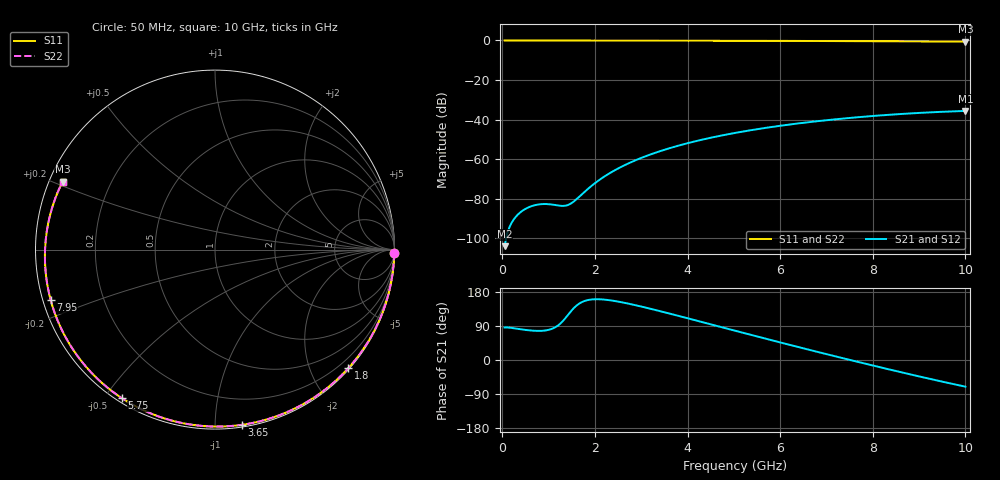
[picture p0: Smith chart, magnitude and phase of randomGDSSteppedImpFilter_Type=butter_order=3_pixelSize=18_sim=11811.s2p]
! freq	dB(S11)	phase(S11)	dB(S12)	phase(S12)
!  dB(S21)	phase(S21)	dB(S22)	phase(S22)
!S-par simulation data
#  GHz  S  DB  R 50
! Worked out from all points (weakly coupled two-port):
!   200 points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, 50 MHz to 10 GHz, reference 50 ohm
!   highest |S21| = -35.59 dB at 10 GHz (marker M1); lowest = -103.9 dB at 50 MHz (marker M2)
!   lowest |S11| = -0.6 dB at 10 GHz (marker M3), VSWR 27.55, Z = 1.9 + j10.6 ohm
!   |S11| at or under -10 dB: nowhere
!   |S22| runs from -0.6 to 0.0 dB; largest |S21 - S12| = 0
!   S11 on the Smith chart (normalised r, x): 50 MHz: open; 1.8 GHz: 0.02, -2.63; 3.65 GHz: 0.01, -1.17; 5.75 GHz: 0.02, -0.55; 7.95 GHz: 0.02, -0.15; 10 GHz: 0.04, +0.21
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0.05  -0.01 -1.1  -103.87 85.7  -103.87 85.7  -0.01 -1.1
0.45  -0.02 -10.6  -85.76 80.1  -85.76 80.1  -0.02 -10.6
0.8  -0.02 -18.7  -82.77 76.8  -82.77 76.8  -0.02 -18.7
1.2  -0.03 -28.0  -83.31 90.8  -83.31 90.8  -0.03 -28.0
1.6  -0.05 -37.1  -80.23 143.3  -80.23 143.3  -0.05 -37.1
1.75  -0.05 -40.5  -77.02 154.5  -77.02 154.5  -0.05 -40.5
1.8  -0.05 -41.6  -75.96 156.7  -75.96 156.7  -0.05 -41.6
1.95  -0.06 -44.9  -72.99 160.0  -72.99 160.0  -0.06 -44.9
2.15  -0.06 -49.4  -69.54 159.9  -69.54 159.9  -0.06 -49.4
2.5  -0.07 -57.0  -64.65 154.2  -64.65 154.2  -0.07 -57.0
2.9  -0.08 -65.6  -60.27 143.9  -60.27 143.9  -0.08 -65.6
3.4  -0.10 -76.1  -55.96 129.1  -55.96 129.1  -0.10 -76.1
3.65  -0.11 -81.2  -54.14 121.3  -54.14 121.3  -0.11 -81.2
4.35  -0.13 -95.3  -49.91 99.0  -49.91 99.0  -0.13 -95.3
5.05  -0.16 -108.8  -46.59 76.5  -46.59 76.5  -0.16 -108.8
5.75  -0.20 -122.1  -43.92 54.3  -43.92 54.3  -0.20 -122.1
6.7  -0.27 -139.7  -41.04 24.6  -41.04 24.6  -0.27 -139.7
7.35  -0.32 -151.7  -39.46 4.8  -39.46 4.8  -0.32 -151.7
7.95  -0.38 -162.9  -38.23 -13.1  -38.23 -13.1  -0.38 -162.9
8.35  -0.42 -170.5  -37.54 -24.8  -37.54 -24.8  -0.42 -170.5
9.2  -0.52 172.8  -36.35 -48.9  -36.35 -48.9  -0.52 172.8
10  -0.63 156.0  -35.59 -70.4  -35.59 -70.4  -0.63 156.0
